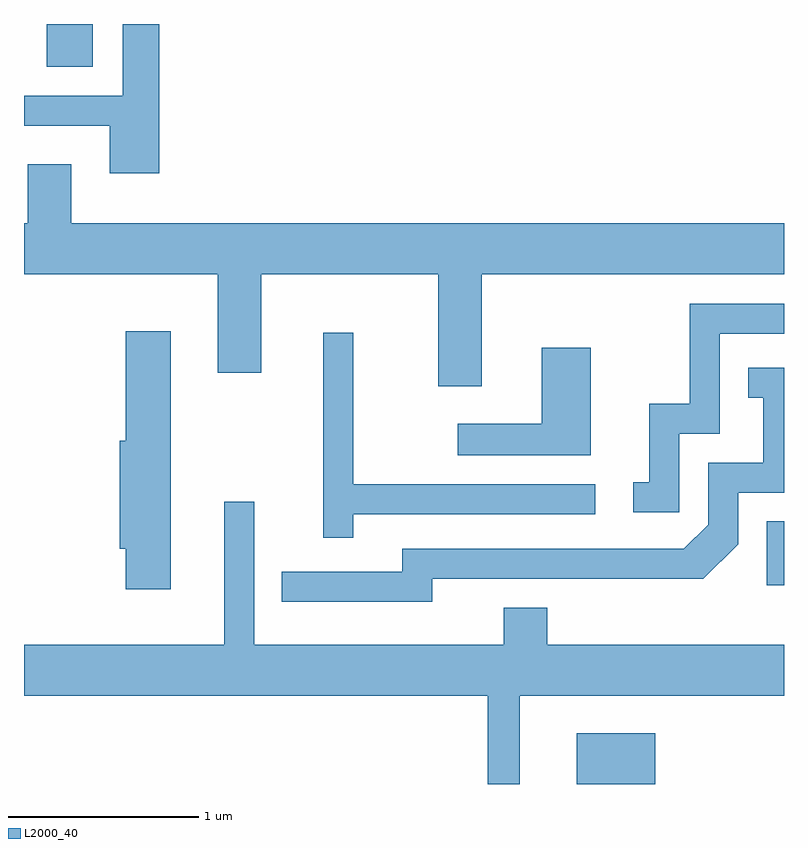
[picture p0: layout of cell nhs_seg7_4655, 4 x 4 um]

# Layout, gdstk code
import gdstk
lib = gdstk.Library(unit=1e-6, precision=1e-09)
def R(c, l, rs):  # rectangles x0, y0, x1, y1
    for r in rs: c.add(gdstk.rectangle(r[:2], r[2:], *l))
def P(c, l, *ps):  # polygons
    for p in ps: c.add(gdstk.Polygon(p, *l))
L2000_40 = (2000, 40)

nhs_seg7_4655 = lib.new_cell('nhs_seg7_4655')
R(nhs_seg7_4655, L2000_40, [(330.521,1758.252,330.934,1758.519), (331.521,1759.298,331.611,1759.634), (327.731,1762.026,327.974,1762.252)])
P(nhs_seg7_4655, L2000_40, [(328.324,1762.252),(328.131,1762.252),(328.131,1761.874),(327.611,1761.874),(327.611,1761.716),(328.061,1761.716),(328.061,1761.466),(328.324,1761.466)],
  [(330.019,1760.936),(331.611,1760.936),(331.611,1761.204),(327.859,1761.204),(327.859,1761.514),(327.631,1761.514),(327.631,1761.204),(327.611,1761.204),(327.611,1760.936),(328.631,1760.936),(328.631,1760.416),(328.859,1760.416),(328.859,1760.936),(329.791,1760.936),(329.791,1760.346),(330.019,1760.346)],
  [(331.059,1760.096),(331.274,1760.096),(331.274,1760.621),(331.611,1760.621),(331.611,1760.779),(331.116,1760.779),(331.116,1760.254),(330.901,1760.254),(330.901,1759.839),(330.818,1759.839),(330.818,1759.681),(331.059,1759.681)],
  [(328.384,1760.634),(328.146,1760.634),(328.146,1760.059),(328.116,1760.059),(328.116,1759.491),(328.146,1759.491),(328.146,1759.276),(328.384,1759.276)],
  [(329.344,1759.671),(330.618,1759.671),(330.618,1759.829),(329.344,1759.829),(329.344,1760.628),(329.186,1760.628),(329.186,1759.548),(329.344,1759.548)],
  [(330.594,1760.549),(330.336,1760.549),(330.336,1760.149),(329.893,1760.149),(329.893,1759.981),(330.594,1759.981)],
  [(329.759,1759.331),(331.187,1759.331),(331.369,1759.514),(331.369,1759.786),(331.611,1759.786),(331.611,1760.444),(331.423,1760.444),(331.423,1760.286),(331.501,1760.286),(331.501,1759.944),(331.211,1759.944),(331.211,1759.617),(331.084,1759.489),(329.601,1759.489),(329.601,1759.369),(328.968,1759.369),(328.968,1759.211),(329.759,1759.211)],
  [(330.219,1758.716),(331.611,1758.716),(331.611,1758.984),(330.364,1758.984),(330.364,1759.179),(330.136,1759.179),(330.136,1758.984),(328.824,1758.984),(328.824,1759.738),(328.666,1759.738),(328.666,1758.984),(327.611,1758.984),(327.611,1758.716),(330.051,1758.716),(330.051,1758.252),(330.219,1758.252)])

lib.write_gds('nhs_seg7_4655.gds')
